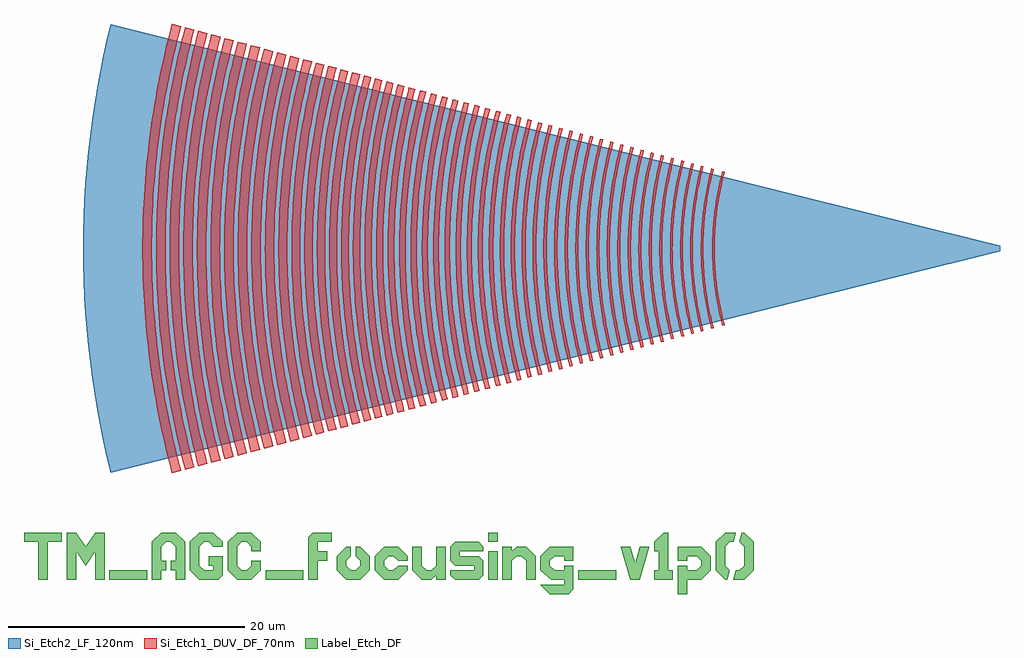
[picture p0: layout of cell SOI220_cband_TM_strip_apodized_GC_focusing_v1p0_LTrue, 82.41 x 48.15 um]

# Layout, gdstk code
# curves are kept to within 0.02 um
import gdstk
lib = gdstk.Library(unit=1e-6, precision=1e-09)
def R(c, l, rs):  # rectangles x0, y0, x1, y1
    for r in rs: c.add(gdstk.rectangle(r[:2], r[2:], *l))
def P(c, l, *ps):  # polygons
    for p in ps: c.add(gdstk.Polygon(p, *l))
Si_Etch2_LF_120nm = (3, 0)
Si_Etch1_DUV_DF_70nm = (6, 0)
Label_Etch_DF = (100, 0)

text_gdsfactorypcomponen = lib.new_cell('text_gdsfactorypcomponentsptextsptext_TTM_AGC_focusing__2e6ef2b0')
R(text_gdsfactorypcomponen, Label_Etch_DF, [(7.6,0,10.8,0.8), (20.8,0,24,0.8), (39.6,0,40.4,2.4), (47.2,0,50.4,0.8), (39.6,3.2,40.4,4)])
P(text_gdsfactorypcomponen, Label_Etch_DF, [(27.6,0),(26.8,0.8),(26.8,2),(27.6,2.8),(28,2.8),(28,2),(27.6,1.6),(27.6,1.2),(28,0.8),(28.4,0.8),(28.8,1.2),(28.8,1.6),(28.4,2),(28.4,2.8),(28.8,2.8),(29.6,2),(29.6,0.8),(28.8,0)],
  [(30.8,0),(30,0.8),(30,2),(30.8,2.8),(32,2.8),(32.8,2),(32.8,1.6),(32,1.6),(31.6,2),(31.2,2),(30.8,1.6),(30.8,1.2),(31.2,0.8),(31.6,0.8),(32,1.2),(32.8,1.2),(32.8,0.8),(32,0)],
  [(34,0),(33.2,0.8),(33.2,2.8),(34,2.8),(34,1.2),(34.4,0.8),(34.8,0.8),(35.2,1.2),(35.2,2.8),(36,2.8),(36,0),(35.2,0),(35.2,0.4),(34.8,0)],
  [(40.8,0),(40.8,2.8),(41.6,2.8),(41.6,2.4),(42,2.8),(42.8,2.8),(43.6,2),(43.6,0),(42.8,0),(42.8,1.6),(42.4,2),(42,2),(41.6,1.6),(41.6,0)],
  [(44.8,-1.2),(44,-0.4),(46,-0.4),(46,0),(44.936,0),(44,0.8),(44,2),(44.8,2.8),(46.8,2.8),(46.8,1.6),(46,1.6),(46,2),(45.2,2),(44.8,1.6),(44.8,1.2),(45.2,0.8),(46,0.8),(46,1.2),(46.8,1.2),(46.8,-0.8),(46.4,-1.2)],
  [(51.6,0),(50.8,2.8),(51.6,2.8),(52,1.4),(52.4,2.8),(53.2,2.8),(52.4,0)],
  [(55.6,-1.2),(55.6,1.2),(56.4,1.2),(56.4,0.8),(57.2,0.8),(57.6,1.2),(57.6,1.6),(57.2,2),(56.4,2),(56.4,1.6),(55.6,1.6),(55.6,2.8),(57.6,2.8),(58.4,2),(58.4,0.8),(57.6,0),(56.4,0),(56.4,-1.2)],
  [(36.8,0),(36.4,0.4),(36.4,0.8),(38.4,0.8),(38.4,1.2),(36.8,1.2),(36.4,1.6),(36.4,2.8),(36.8,3.2),(38.8,3.2),(39.2,2.8),(39.2,2.4),(37.2,2.4),(37.2,2),(38.8,2),(39.2,1.6),(39.2,0.4),(38.8,0)],
  [(1.6,0),(1.6,3.2),(0.4,3.2),(0.4,4),(3.6,4),(3.6,3.2),(2.4,3.2),(2.4,0)],
  [(4,0),(4,4),(4.8,4),(5.6,2.8),(6.4,4),(7.2,4),(7.2,0),(6.4,0),(6.4,2.4),(5.6,1.2),(4.8,2.4),(4.8,0)],
  [(11.196,0),(11.2,3.2),(12,4),(13.204,4),(14,3.2),(14,0),(13.204,0),(13.204,0.8),(12.8,0.8),(12.8,1.6),(13.204,1.6),(13.204,2.8),(12.8,3.2),(12.4,3.2),(12,2.8),(12,1.6),(12.4,1.6),(12.4,0.8),(12,0.8),(12,0)],
  [(15.2,0),(14.4,0.8),(14.4,3.2),(15.2,4),(16.4,4),(17.2,3.2),(17.2,2.8),(16.4,2.8),(16,3.2),(15.6,3.2),(15.2,2.8),(15.2,1.2),(15.6,0.8),(16.4,0.8),(16.4,1.2),(16,1.2),(16,2),(17.2,2),(17.2,0.4),(16.8,0)],
  [(18.4,0),(17.6,0.8),(17.6,3.2),(18.4,4),(19.6,4),(20.4,3.2),(20.4,2.4),(19.6,2.4),(19.6,2.8),(19.2,3.2),(18.8,3.2),(18.4,2.8),(18.4,1.2),(18.8,0.8),(19.2,0.8),(19.6,1.2),(19.6,1.6),(20.4,1.6),(20.4,0.8),(19.6,0)],
  [(24.4,0),(24.4,3.6),(24.8,4),(26.4,4),(26.4,3.2),(25.2,3.2),(25.2,2.4),(26,2.4),(26,1.6),(25.2,1.6),(25.2,0)],
  [(53.6,0),(53.6,0.8),(54,0.8),(54,2.4),(53.6,2.4),(53.6,3.2),(54.4,4),(54.8,4),(54.8,0.8),(55.2,0.8),(55.2,0)],
  [(59.6,0),(58.8,0.8),(58.8,3.2),(59.6,4),(60.52,4),(60.32,3.2),(60,3.2),(59.6,2.8),(59.6,1.2),(60,0.8),(59.8,0)],
  [(60.28,0),(60.48,0.8),(60.8,0.8),(61.2,1.2),(61.2,2.8),(60.8,3.2),(61,4),(61.2,4),(62,3.2),(62,0.8),(61.2,0)])

soi220_cband_tm_strip_ap = lib.new_cell('SOI220_cband_TM_strip_apodized_GC_focusing_v1p0_LTrue')
P(soi220_cband_tm_strip_ap, Si_Etch2_LF_120nm, [(-75.088,-18.946),(-75.703,-16.283),(-75.975,-14.943),(-76.45,-12.251),(-76.83,-9.544),(-77.116,-6.826),(-77.307,-4.099),(-77.402,-1.367),(-77.414,0),(-77.402,1.367),(-77.307,4.099),(-77.116,6.826),(-76.83,9.544),(-76.45,12.251),(-75.975,14.943),(-75.703,16.283),(-75.088,18.946),(0,0.225),(0,-0.225)])
P(soi220_cband_tm_strip_ap, Si_Etch1_DUV_DF_70nm, [(-23.439,-6.522),(-23.835,-4.808),(-24.111,-3.071),(-24.251,-1.538),(-24.298,0),(-24.251,1.538),(-24.111,3.071),(-23.835,4.808),(-23.439,6.522),(-23.246,6.47),(-23.639,4.77),(-23.884,3.263),(-24.037,1.744),(-24.098,0),(-24.037,-1.744),(-23.884,-3.263),(-23.639,-4.77),(-23.246,-6.47)],
  [(-24.365,-6.768),(-24.774,-4.991),(-25.061,-3.187),(-25.207,-1.597),(-25.255,0),(-25.207,1.597),(-25.061,3.187),(-24.774,4.991),(-24.365,6.768),(-24.171,6.718),(-24.534,5.175),(-24.833,3.388),(-25.007,1.585),(-25.055,0),(-25.007,-1.585),(-24.833,-3.388),(-24.534,-5.175),(-24.171,-6.718)],
  [(-25.23,-7.001),(-25.655,-5.162),(-25.951,-3.297),(-26.102,-1.651),(-26.152,0),(-26.102,1.651),(-25.951,3.297),(-25.655,5.162),(-25.23,7.001),(-25.037,6.95),(-25.459,5.124),(-25.722,3.505),(-25.887,1.873),(-25.952,0),(-25.887,-1.873),(-25.722,-3.505),(-25.459,-5.124),(-25.037,-6.95)],
  [(-26.042,-7.219),(-26.48,-5.322),(-26.786,-3.399),(-26.941,-1.703),(-26.993,0),(-26.941,1.703),(-26.786,3.399),(-26.48,5.322),(-26.042,7.219),(-25.849,7.168),(-26.237,5.521),(-26.556,3.615),(-26.726,1.932),(-26.793,0),(-26.726,-1.932),(-26.556,-3.615),(-26.237,-5.521),(-25.849,-7.168)],
  [(-26.875,-7.442),(-27.278,-5.733),(-27.609,-3.753),(-27.802,-1.755),(-27.855,0),(-27.802,1.755),(-27.609,3.753),(-27.278,5.733),(-26.875,7.442),(-26.682,7.391),(-27.082,5.693),(-27.411,3.727),(-27.602,1.743),(-27.655,0),(-27.602,-1.743),(-27.411,-3.727),(-27.082,-5.693),(-26.682,-7.391)],
  [(-27.748,-7.675),(-28.163,-5.913),(-28.504,-3.871),(-28.703,-1.811),(-28.758,0),(-28.703,1.811),(-28.504,3.871),(-28.163,5.913),(-27.748,7.675),(-27.529,7.618),(-27.941,5.868),(-28.28,3.842),(-28.477,1.797),(-28.532,0),(-28.477,-1.797),(-28.28,-3.842),(-27.941,-5.868),(-27.529,-7.618)],
  [(-28.606,-7.905),(-29.085,-5.829),(-29.385,-3.987),(-29.589,-1.865),(-29.646,0),(-29.589,1.865),(-29.385,3.987),(-29.085,5.829),(-28.606,7.905),(-28.387,7.848),(-28.863,5.786),(-29.161,3.958),(-29.346,2.115),(-29.42,0),(-29.346,-2.115),(-29.161,-3.958),(-28.863,-5.786),(-28.387,-7.848)],
  [(-29.457,-8.134),(-29.951,-5.997),(-30.259,-4.103),(-30.47,-1.919),(-30.528,0),(-30.47,1.919),(-30.259,4.103),(-29.951,5.997),(-29.457,8.134),(-29.223,8.072),(-29.66,6.218),(-30.019,4.071),(-30.228,1.904),(-30.286,0),(-30.228,-1.904),(-30.019,-4.071),(-29.66,-6.218),(-29.223,-8.072)],
  [(-30.325,-8.367),(-30.833,-6.169),(-31.151,-4.22),(-31.367,-1.974),(-31.427,0),(-31.367,1.974),(-31.151,4.22),(-30.833,6.169),(-30.325,8.367),(-30.073,8.3),(-30.577,6.119),(-30.892,4.186),(-31.088,2.237),(-31.166,0),(-31.088,-2.237),(-30.892,-4.186),(-30.577,-6.119),(-30.073,-8.3)],
  [(-31.178,-8.595),(-31.458,-7.471),(-31.699,-6.337),(-32.025,-4.335),(-32.248,-2.028),(-32.309,0),(-32.248,2.028),(-32.025,4.335),(-31.699,6.337),(-31.458,7.471),(-31.178,8.595),(-30.943,8.533),(-31.404,6.573),(-31.614,5.441),(-31.784,4.303),(-32.005,2.013),(-32.066,0),(-32.005,-2.013),(-31.784,-4.303),(-31.614,-5.441),(-31.404,-6.573),(-30.943,-8.533)],
  [(-32.031,-8.823),(-32.318,-7.669),(-32.565,-6.506),(-32.9,-4.45),(-33.035,-3.267),(-33.129,-2.081),(-33.192,0),(-33.129,2.081),(-33.035,3.267),(-32.9,4.45),(-32.565,6.506),(-32.318,7.669),(-32.031,8.823),(-31.793,8.761),(-32.324,6.459),(-32.656,4.418),(-32.864,2.361),(-32.925,1.181),(-32.946,0),(-32.925,-1.181),(-32.864,-2.361),(-32.656,-4.418),(-32.324,-6.459),(-31.793,-8.761)],
  [(-32.881,-9.051),(-33.176,-7.868),(-33.43,-6.673),(-33.773,-4.565),(-33.911,-3.353),(-34.007,-2.135),(-34.072,0),(-34.007,2.135),(-33.911,3.353),(-33.773,4.565),(-33.43,6.673),(-33.176,7.868),(-32.881,9.051),(-32.643,8.988),(-33.129,6.924),(-33.35,5.732),(-33.529,4.533),(-33.666,3.329),(-33.761,2.12),(-33.826,0),(-33.761,-2.12),(-33.666,-3.329),(-33.529,-4.533),(-33.35,-5.732),(-33.129,-6.924),(-32.643,-8.988)],
  [(-33.748,-9.283),(-34.25,-7.152),(-34.478,-5.92),(-34.663,-4.682),(-34.805,-3.438),(-34.904,-2.19),(-34.97,0),(-34.904,2.19),(-34.805,3.438),(-34.663,4.682),(-34.478,5.92),(-34.25,7.152),(-33.748,9.283),(-33.512,9.221),(-34.011,7.103),(-34.237,5.88),(-34.421,4.65),(-34.562,3.415),(-34.66,2.175),(-34.726,0),(-34.66,-2.175),(-34.562,-3.415),(-34.421,-4.65),(-34.237,-5.88),(-34.011,-7.103),(-33.512,-9.221)],
  [(-34.598,-9.511),(-35.112,-7.328),(-35.346,-6.067),(-35.536,-4.797),(-35.681,-3.522),(-35.782,-2.244),(-35.85,0),(-35.782,2.244),(-35.681,3.522),(-35.536,4.797),(-35.346,6.067),(-35.112,7.328),(-34.598,9.511),(-34.362,9.449),(-34.873,7.279),(-35.105,6.026),(-35.294,4.765),(-35.438,3.499),(-35.538,2.229),(-35.606,0),(-35.538,-2.229),(-35.438,-3.499),(-35.294,-4.765),(-35.105,-6.026),(-34.873,-7.279),(-34.362,-9.449)],
  [(-35.465,-9.744),(-35.992,-7.506),(-36.231,-6.214),(-36.426,-4.914),(-36.575,-3.608),(-36.678,-2.298),(-36.748,0),(-36.678,2.298),(-36.575,3.608),(-36.426,4.914),(-36.231,6.214),(-35.992,7.506),(-35.465,9.744),(-35.212,9.677),(-35.528,8.41),(-35.799,7.134),(-36.166,4.88),(-36.395,2.608),(-36.463,1.305),(-36.486,0),(-36.463,-1.305),(-36.395,-2.608),(-36.166,-4.88),(-35.799,-7.134),(-35.528,-8.41),(-35.212,-9.677)],
  [(-36.336,-9.976),(-36.661,-8.673),(-36.941,-7.356),(-37.32,-5.032),(-37.472,-3.695),(-37.577,-2.354),(-37.649,0),(-37.577,2.354),(-37.472,3.695),(-37.32,5.032),(-36.941,7.356),(-36.661,8.673),(-36.336,9.976),(-36.068,9.906),(-36.604,7.631),(-36.847,6.317),(-37.045,4.996),(-37.196,3.668),(-37.301,2.337),(-37.372,0),(-37.301,-2.337),(-37.196,-3.668),(-37.045,-4.996),(-36.847,-6.317),(-36.604,-7.631),(-36.068,-9.906)],
  [(-37.213,-10.212),(-37.766,-7.867),(-38.017,-6.512),(-38.221,-5.15),(-38.462,-2.753),(-38.534,-1.377),(-38.558,0),(-38.534,1.377),(-38.462,2.753),(-38.221,5.15),(-38.017,6.512),(-37.766,7.867),(-37.213,10.212),(-36.93,10.137),(-37.479,7.809),(-37.728,6.464),(-37.93,5.112),(-38.17,2.732),(-38.241,1.367),(-38.265,0),(-38.241,-1.367),(-38.17,-2.732),(-37.93,-5.112),(-37.728,-6.464),(-37.479,-7.809),(-36.93,-10.137)],
  [(-38.097,-10.448),(-38.662,-8.049),(-38.919,-6.664),(-39.126,-5.269),(-39.373,-2.817),(-39.448,-1.409),(-39.472,0),(-39.448,1.409),(-39.373,2.817),(-39.126,5.269),(-38.919,6.664),(-38.662,8.049),(-38.097,10.448),(-37.796,10.369),(-38.357,7.987),(-38.612,6.612),(-38.818,5.229),(-38.977,3.84),(-39.086,2.446),(-39.161,0),(-39.086,-2.446),(-38.977,-3.84),(-38.818,-5.229),(-38.612,-6.612),(-38.357,-7.987),(-37.796,-10.369)],
  [(-38.982,-10.686),(-39.561,-8.232),(-39.823,-6.815),(-40.036,-5.39),(-40.199,-3.957),(-40.312,-2.521),(-40.389,0),(-40.312,2.521),(-40.199,3.957),(-40.036,5.39),(-39.823,6.815),(-39.561,8.232),(-38.982,10.686),(-38.667,10.603),(-39.241,8.167),(-39.501,6.761),(-39.713,5.347),(-39.874,3.926),(-39.987,2.501),(-40.063,0),(-39.987,-2.501),(-39.874,-3.926),(-39.713,-5.347),(-39.501,-6.761),(-39.241,-8.167),(-38.667,-10.603)],
  [(-39.871,-10.923),(-40.227,-9.495),(-40.534,-8.055),(-40.948,-5.51),(-41.206,-2.945),(-41.283,-1.473),(-41.309,0),(-41.283,1.473),(-41.206,2.945),(-40.948,5.51),(-40.534,8.055),(-40.227,9.495),(-39.871,10.923),(-39.539,10.836),(-39.893,9.418),(-40.197,7.989),(-40.608,5.465),(-40.773,4.013),(-40.888,2.556),(-40.966,0),(-40.888,-2.556),(-40.773,-4.013),(-40.608,-5.465),(-40.197,-7.989),(-39.893,-9.418),(-39.539,-10.836)],
  [(-40.762,-11.162),(-41.126,-9.703),(-41.365,-8.6),(-41.639,-7.119),(-41.862,-5.63),(-42.126,-3.009),(-42.205,-1.506),(-42.231,0),(-42.205,1.506),(-42.126,3.009),(-41.862,5.63),(-41.639,7.119),(-41.365,8.6),(-41.126,9.703),(-40.762,11.162),(-40.414,11.07),(-40.775,9.622),(-41.085,8.161),(-41.505,5.583),(-41.767,2.984),(-41.845,1.493),(-41.871,0),(-41.845,-1.493),(-41.767,-2.984),(-41.505,-5.583),(-41.085,-8.161),(-40.775,-9.622),(-40.414,-11.07)],
  [(-41.657,-11.401),(-42.027,-9.911),(-42.347,-8.407),(-42.553,-7.271),(-42.78,-5.751),(-42.916,-4.606),(-43.05,-3.074),(-43.13,-1.537),(-43.157,0),(-43.13,1.537),(-43.05,3.074),(-42.916,4.606),(-42.78,5.751),(-42.553,7.271),(-42.347,8.407),(-42.027,9.911),(-41.657,11.401),(-41.291,11.305),(-41.902,8.709),(-42.18,7.209),(-42.405,5.702),(-42.578,4.187),(-42.698,2.667),(-42.779,0),(-42.698,-2.667),(-42.578,-4.187),(-42.405,-5.702),(-42.18,-7.209),(-41.902,-8.709),(-41.291,-11.305)],
  [(-42.556,-11.643),(-42.935,-10.12),(-43.262,-8.585),(-43.704,-5.873),(-43.881,-4.312),(-44.004,-2.746),(-44.061,-1.57),(-44.088,0),(-44.061,1.57),(-44.004,2.746),(-43.881,4.312),(-43.704,5.873),(-43.262,8.585),(-42.935,10.12),(-42.556,11.643),(-42.172,11.542),(-42.548,10.031),(-42.872,8.509),(-43.31,5.821),(-43.486,4.274),(-43.608,2.722),(-43.676,1.167),(-43.691,0),(-43.676,-1.167),(-43.608,-2.722),(-43.486,-4.274),(-43.31,-5.821),(-42.872,-8.509),(-42.548,-10.031),(-42.172,-11.542)],
  [(-43.457,-11.885),(-43.753,-10.721),(-44.1,-9.156),(-44.392,-7.579),(-44.629,-5.994),(-44.771,-4.8),(-44.91,-3.204),(-44.994,-1.602),(-45.022,0),(-44.994,1.602),(-44.91,3.204),(-44.771,4.8),(-44.629,5.994),(-44.392,7.579),(-44.1,9.156),(-43.753,10.721),(-43.457,11.885),(-43.056,11.779),(-43.441,10.237),(-43.771,8.684),(-44.047,7.119),(-44.218,5.94),(-44.397,4.362),(-44.522,2.778),(-44.579,1.588),(-44.607,0),(-44.579,-1.588),(-44.522,-2.778),(-44.397,-4.362),(-44.218,-5.94),(-44.047,-7.119),(-43.771,-8.684),(-43.441,-10.237),(-43.056,-11.779)],
  [(-44.365,-12.127),(-44.76,-10.541),(-45.1,-8.942),(-45.384,-7.331),(-45.56,-6.117),(-45.705,-4.898),(-45.847,-3.269),(-45.933,-1.635),(-45.961,0),(-45.933,1.635),(-45.847,3.269),(-45.705,4.898),(-45.56,6.117),(-45.384,7.331),(-45.1,8.942),(-44.76,10.541),(-44.365,12.127),(-43.945,12.017),(-44.337,10.444),(-44.674,8.859),(-44.89,7.663),(-45.13,6.06),(-45.273,4.853),(-45.414,3.239),(-45.499,1.62),(-45.527,0),(-45.499,-1.62),(-45.414,-3.239),(-45.273,-4.853),(-45.13,-6.06),(-44.89,-7.663),(-44.674,-8.859),(-44.337,-10.444),(-43.945,-12.017)],
  [(-45.277,-12.372),(-45.68,-10.754),(-46.028,-9.123),(-46.251,-7.891),(-46.497,-6.24),(-46.645,-4.997),(-46.79,-3.335),(-46.877,-1.669),(-46.906,0),(-46.877,1.669),(-46.79,3.335),(-46.645,4.997),(-46.497,6.24),(-46.251,7.891),(-46.028,9.123),(-45.68,10.754),(-45.277,12.372),(-44.838,12.256),(-45.238,10.652),(-45.582,9.036),(-45.803,7.816),(-46.047,6.181),(-46.234,4.539),(-46.364,2.891),(-46.436,1.24),(-46.452,0),(-46.436,-1.24),(-46.364,-2.891),(-46.234,-4.539),(-46.047,-6.181),(-45.803,-7.816),(-45.582,-9.036),(-45.238,-10.652),(-44.838,-12.256)],
  [(-46.195,-12.617),(-46.508,-11.382),(-46.877,-9.72),(-47.186,-8.048),(-47.438,-6.364),(-47.631,-4.673),(-47.764,-2.977),(-47.826,-1.701),(-47.855,0),(-47.826,1.701),(-47.764,2.977),(-47.631,4.673),(-47.438,6.364),(-47.186,8.048),(-46.877,9.72),(-46.508,11.382),(-46.195,12.617),(-45.737,12.497),(-46.048,11.272),(-46.413,9.626),(-46.72,7.969),(-46.969,6.302),(-47.16,4.628),(-47.292,2.948),(-47.353,1.685),(-47.382,0),(-47.353,-1.685),(-47.292,-2.948),(-47.16,-4.628),(-46.969,-6.302),(-46.72,-7.969),(-46.413,-9.626),(-46.048,-11.272),(-45.737,-12.497)],
  [(-47.116,-12.864),(-47.535,-11.183),(-47.896,-9.485),(-48.197,-7.776),(-48.384,-6.488),(-48.58,-4.765),(-48.688,-3.467),(-48.779,-1.735),(-48.809,0),(-48.779,1.735),(-48.688,3.467),(-48.58,4.765),(-48.384,6.488),(-48.197,7.776),(-47.896,9.485),(-47.535,11.183),(-47.116,12.864),(-46.639,12.739),(-47.055,11.072),(-47.412,9.391),(-47.641,8.123),(-47.895,6.424),(-48.046,5.145),(-48.196,3.433),(-48.286,1.718),(-48.316,0),(-48.286,-1.718),(-48.196,-3.433),(-48.046,-5.145),(-47.895,-6.424),(-47.641,-8.123),(-47.412,-9.391),(-47.055,-11.072),(-46.639,-12.739)],
  [(-48.042,-13.112),(-48.368,-11.829),(-48.751,-10.102),(-49.073,-8.362),(-49.335,-6.614),(-49.535,-4.856),(-49.645,-3.535),(-49.737,-1.768),(-49.768,0),(-49.737,1.768),(-49.645,3.535),(-49.535,4.856),(-49.335,6.614),(-49.073,8.362),(-48.751,10.102),(-48.368,11.829),(-48.042,13.112),(-47.546,12.982),(-47.869,11.709),(-48.248,10),(-48.567,8.278),(-48.826,6.547),(-49.024,4.807),(-49.133,3.499),(-49.224,1.75),(-49.255,0),(-49.224,-1.75),(-49.133,-3.499),(-49.024,-4.807),(-48.826,-6.547),(-48.567,-8.278),(-48.248,-10),(-47.869,-11.709),(-47.546,-12.982)],
  [(-48.974,-13.361),(-49.305,-12.054),(-49.695,-10.295),(-50.024,-8.522),(-50.29,-6.739),(-50.495,-4.95),(-50.607,-3.603),(-50.701,-1.802),(-50.732,0),(-50.701,1.802),(-50.607,3.603),(-50.495,4.95),(-50.29,6.739),(-50.024,8.522),(-49.695,10.295),(-49.305,12.054),(-48.974,13.361),(-48.457,13.226),(-48.786,11.929),(-49.172,10.188),(-49.497,8.434),(-49.761,6.67),(-49.963,4.898),(-50.074,3.565),(-50.167,1.783),(-50.198,0),(-50.167,-1.783),(-50.074,-3.565),(-49.963,-4.898),(-49.761,-6.67),(-49.497,-8.434),(-49.172,-10.188),(-48.786,-11.929),(-48.457,-13.226)],
  [(-49.909,-13.611),(-50.352,-11.832),(-50.734,-10.036),(-51.052,-8.229),(-51.25,-6.867),(-51.412,-5.498),(-51.572,-3.669),(-51.668,-1.836),(-51.7,0),(-51.668,1.836),(-51.572,3.669),(-51.412,5.498),(-51.25,6.867),(-51.052,8.229),(-50.734,10.036),(-50.352,11.832),(-49.909,13.611),(-49.373,13.471),(-49.812,11.708),(-50.19,9.931),(-50.505,8.142),(-50.701,6.794),(-50.906,4.989),(-51.049,3.177),(-51.128,1.362),(-51.146,0),(-51.128,-1.362),(-51.049,-3.177),(-50.906,-4.989),(-50.701,-6.794),(-50.505,-8.142),(-50.19,-9.931),(-49.812,-11.708),(-49.373,-13.471)],
  [(-50.849,-13.864),(-51.194,-12.507),(-51.598,-10.682),(-51.939,-8.843),(-52.216,-6.993),(-52.381,-5.6),(-52.544,-3.737),(-52.642,-1.87),(-52.674,0),(-52.642,1.87),(-52.544,3.737),(-52.381,5.6),(-52.216,6.993),(-51.939,8.843),(-51.598,10.682),(-51.194,12.507),(-50.849,13.864),(-50.292,13.717),(-50.634,12.373),(-51.034,10.567),(-51.371,8.748),(-51.645,6.918),(-51.808,5.54),(-51.969,3.697),(-52.066,1.85),(-52.098,0),(-52.066,-1.85),(-51.969,-3.697),(-51.808,-5.54),(-51.645,-6.918),(-51.371,-8.748),(-51.034,-10.567),(-50.634,-12.373),(-50.292,-13.717)],
  [(-51.794,-14.117),(-52.255,-12.272),(-52.651,-10.41),(-52.982,-8.534),(-53.186,-7.121),(-53.402,-5.23),(-53.521,-3.805),(-53.62,-1.904),(-53.653,0),(-53.62,1.904),(-53.521,3.805),(-53.402,5.23),(-53.186,7.121),(-52.982,8.534),(-52.651,10.41),(-52.255,12.272),(-51.794,14.117),(-51.217,13.965),(-51.673,12.138),(-52.065,10.296),(-52.392,8.441),(-52.594,7.043),(-52.808,5.172),(-52.925,3.764),(-53.023,1.883),(-53.056,0),(-53.023,-1.883),(-52.925,-3.764),(-52.808,-5.172),(-52.594,-7.043),(-52.392,-8.441),(-52.065,-10.296),(-51.673,-12.138),(-51.217,-13.965)],
  [(-52.747,-14.372),(-53.214,-12.494),(-53.618,-10.597),(-53.877,-9.167),(-54.163,-7.25),(-54.382,-5.323),(-54.535,-3.391),(-54.605,-1.938),(-54.638,0),(-54.605,1.938),(-54.535,3.391),(-54.382,5.323),(-54.163,7.25),(-53.877,9.167),(-53.618,10.597),(-53.214,12.494),(-52.747,14.372),(-52.148,14.215),(-52.611,12.355),(-53.01,10.479),(-53.266,9.065),(-53.549,7.169),(-53.766,5.264),(-53.917,3.353),(-53.986,1.917),(-54.019,0),(-53.986,-1.917),(-53.917,-3.353),(-53.766,-5.264),(-53.549,-7.169),(-53.266,-9.065),(-53.01,-10.479),(-52.611,-12.355),(-52.148,-14.215)],
  [(-53.704,-14.628),(-54.181,-12.717),(-54.494,-11.27),(-54.854,-9.331),(-55.146,-7.378),(-55.369,-5.418),(-55.524,-3.451),(-55.595,-1.973),(-55.629,0),(-55.595,1.973),(-55.524,3.451),(-55.369,5.418),(-55.146,7.378),(-54.854,9.331),(-54.494,11.27),(-54.181,12.717),(-53.704,14.628),(-53.084,14.465),(-53.556,12.573),(-53.866,11.143),(-54.222,9.225),(-54.51,7.295),(-54.731,5.357),(-54.884,3.412),(-54.969,1.463),(-54.988,0),(-54.969,-1.463),(-54.884,-3.412),(-54.731,-5.357),(-54.51,-7.295),(-54.222,-9.225),(-53.866,-11.143),(-53.556,-12.573),(-53.084,-14.465)],
  [(-54.683,-14.891),(-55.168,-12.945),(-55.586,-10.98),(-55.935,-9.002),(-56.15,-7.511),(-56.378,-5.516),(-56.536,-3.514),(-56.624,-1.506),(-56.643,0),(-56.624,1.506),(-56.536,3.514),(-56.378,5.516),(-56.15,7.511),(-55.935,9.002),(-55.586,10.98),(-55.168,12.945),(-54.683,14.891),(-54.041,14.722),(-54.521,12.795),(-54.934,10.853),(-55.279,8.898),(-55.492,7.424),(-55.717,5.452),(-55.873,3.473),(-55.96,1.489),(-55.979,0),(-55.96,-1.489),(-55.873,-3.473),(-55.717,-5.452),(-55.492,-7.424),(-55.279,-8.898),(-54.934,-10.853),(-54.521,-12.795),(-54.041,-14.722)],
  [(-55.684,-15.16),(-56.061,-13.676),(-56.504,-11.679),(-56.877,-9.669),(-57.179,-7.646),(-57.41,-5.615),(-57.571,-3.576),(-57.645,-2.045),(-57.68,0),(-57.645,2.045),(-57.571,3.576),(-57.41,5.615),(-57.179,7.646),(-56.877,9.669),(-56.504,11.679),(-56.061,13.676),(-55.684,15.16),(-55.02,14.984),(-55.509,13.024),(-55.831,11.542),(-56.199,9.555),(-56.498,7.557),(-56.676,6.052),(-56.852,4.039),(-56.958,2.021),(-56.993,0),(-56.958,-2.021),(-56.852,-4.039),(-56.676,-6.052),(-56.498,-7.557),(-56.199,-9.555),(-55.831,-11.542),(-55.509,-13.024),(-55.02,-14.984)],
  [(-56.709,-15.434),(-57.212,-13.417),(-57.543,-11.89),(-57.922,-9.844),(-58.23,-7.785),(-58.466,-5.716),(-58.629,-3.641),(-58.72,-1.562),(-58.74,0),(-58.72,1.562),(-58.629,3.641),(-58.466,5.716),(-58.23,7.785),(-57.922,9.844),(-57.543,11.89),(-57.212,13.417),(-56.709,15.434),(-56.022,15.253),(-56.52,13.257),(-56.847,11.749),(-57.222,9.727),(-57.526,7.692),(-57.759,5.648),(-57.92,3.598),(-58.01,1.543),(-58.03,0),(-58.01,-1.543),(-57.92,-3.598),(-57.759,-5.648),(-57.526,-7.692),(-57.222,-9.727),(-56.847,-11.749),(-56.52,-13.257),(-56.022,-15.253)],
  [(-57.756,-15.714),(-58.267,-13.66),(-58.709,-11.587),(-58.991,-10.023),(-59.305,-7.927),(-59.545,-5.821),(-59.711,-3.707),(-59.787,-2.119),(-59.824,0),(-59.787,2.119),(-59.711,3.707),(-59.545,5.821),(-59.305,7.927),(-58.991,10.023),(-58.709,11.587),(-58.267,13.66),(-57.756,15.714),(-57.046,15.527),(-57.432,14.005),(-57.886,11.96),(-58.267,9.902),(-58.577,7.831),(-58.814,5.75),(-58.944,4.185),(-59.053,2.094),(-59.09,0),(-59.053,-2.094),(-58.944,-4.185),(-58.814,-5.75),(-58.577,-7.831),(-58.267,-9.902),(-57.886,-11.96),(-57.432,-14.005),(-57.046,-15.527)],
  [(-58.826,-16.001),(-59.348,-13.91),(-59.691,-12.329),(-60.084,-10.205),(-60.403,-8.071),(-60.647,-5.927),(-60.817,-3.775),(-60.895,-2.158),(-60.932,0),(-60.895,2.158),(-60.817,3.775),(-60.647,5.927),(-60.403,8.071),(-60.084,10.205),(-59.691,12.329),(-59.348,13.91),(-58.826,16.001),(-58.093,15.808),(-58.609,13.739),(-59.052,11.654),(-59.422,9.554),(-59.651,7.972),(-59.893,5.854),(-60.06,3.729),(-60.137,2.132),(-60.174,0),(-60.137,-2.132),(-60.06,-3.729),(-59.893,-5.854),(-59.651,-7.972),(-59.422,-9.554),(-59.052,-11.654),(-58.609,-13.739),(-58.093,-15.808)],
  [(-59.919,-16.293),(-60.45,-14.164),(-60.908,-12.014),(-61.2,-10.392),(-61.525,-8.219),(-61.719,-6.582),(-61.911,-4.393),(-62.026,-2.197),(-62.064,0),(-62.026,2.197),(-61.911,4.393),(-61.719,6.582),(-61.525,8.219),(-61.2,10.392),(-60.908,12.014),(-60.45,14.164),(-59.919,16.293),(-59.163,16.094),(-59.688,13.988),(-60.14,11.865),(-60.429,10.263),(-60.75,8.117),(-60.996,5.96),(-61.131,4.338),(-61.244,2.17),(-61.282,0),(-61.244,-2.17),(-61.131,-4.338),(-60.996,-5.96),(-60.75,-8.117),(-60.429,-10.263),(-60.14,-11.865),(-59.688,-13.988),(-59.163,-16.094)],
  [(-61.031,-16.59),(-61.443,-14.968),(-61.927,-12.783),(-62.335,-10.582),(-62.665,-8.368),(-62.919,-6.146),(-63.095,-3.914),(-63.192,-1.678),(-63.214,0),(-63.192,1.678),(-63.095,3.914),(-62.919,6.146),(-62.665,8.368),(-62.335,10.582),(-61.927,12.783),(-61.443,14.968),(-61.031,16.59),(-60.257,16.387),(-60.791,14.243),(-61.251,12.081),(-61.546,10.45),(-61.872,8.264),(-62.123,6.069),(-62.26,4.417),(-62.375,2.21),(-62.414,0),(-62.375,-2.21),(-62.26,-4.417),(-62.123,-6.069),(-61.872,-8.264),(-61.546,-10.45),(-61.251,-12.081),(-60.791,-14.243),(-60.257,-16.387)],
  [(-62.14,-16.89),(-62.692,-14.682),(-63.165,-12.454),(-63.469,-10.772),(-63.805,-8.519),(-64.063,-6.256),(-64.243,-3.985),(-64.325,-2.278),(-64.364,0),(-64.325,2.278),(-64.243,3.985),(-64.063,6.256),(-63.805,8.519),(-63.469,10.772),(-63.165,12.454),(-62.692,14.682),(-62.14,16.89),(-61.367,16.685),(-61.912,14.502),(-62.38,12.301),(-62.68,10.64),(-63.012,8.415),(-63.267,6.179),(-63.444,3.936),(-63.525,2.25),(-63.564,0),(-63.525,-2.25),(-63.444,-3.936),(-63.267,-6.179),(-63.012,-8.415),(-62.68,-10.64),(-62.38,-12.301),(-61.912,-14.502),(-61.367,-16.685)],
  [(-63.252,-17.187),(-63.679,-15.504),(-64.181,-13.241),(-64.603,-10.962),(-64.946,-8.67),(-65.208,-6.365),(-65.391,-4.055),(-65.492,-1.739),(-65.514,0),(-65.492,1.739),(-65.391,4.055),(-65.208,6.365),(-64.946,8.67),(-64.603,10.962),(-64.181,13.241),(-63.679,15.504),(-63.252,17.187),(-62.478,16.983),(-62.901,15.318),(-63.397,13.082),(-63.814,10.83),(-64.153,8.565),(-64.412,6.289),(-64.592,4.006),(-64.692,1.718),(-64.714,0),(-64.692,-1.718),(-64.592,-4.006),(-64.412,-6.289),(-64.153,-8.565),(-63.814,-10.83),(-63.397,-13.082),(-62.901,-15.318),(-62.478,-16.983)],
  [(-64.363,-17.483),(-64.933,-15.199),(-65.308,-13.47),(-65.737,-11.152),(-66.086,-8.819),(-66.353,-6.476),(-66.538,-4.125),(-66.641,-1.769),(-66.664,0),(-66.641,1.769),(-66.538,4.125),(-66.353,6.476),(-66.086,8.819),(-65.737,11.152),(-65.308,13.47),(-64.933,15.199),(-64.363,17.483),(-63.589,17.28),(-64.153,15.019),(-64.524,13.311),(-64.948,11.02),(-65.293,8.715),(-65.557,6.399),(-65.701,4.657),(-65.823,2.33),(-65.864,0),(-65.823,-2.33),(-65.701,-4.657),(-65.557,-6.399),(-65.293,-8.715),(-64.948,-11.02),(-64.524,-13.311),(-64.153,-15.019),(-63.589,-17.28)],
  [(-65.474,-17.782),(-65.915,-16.041),(-66.435,-13.699),(-66.872,-11.341),(-67.226,-8.97),(-67.438,-7.183),(-67.647,-4.793),(-67.773,-2.398),(-67.814,0),(-67.773,2.398),(-67.647,4.793),(-67.438,7.183),(-67.226,8.97),(-66.872,11.341),(-66.435,13.699),(-65.915,16.041),(-65.474,17.782),(-64.7,17.578),(-65.273,15.278),(-65.651,13.54),(-66.083,11.209),(-66.433,8.865),(-66.642,7.099),(-66.849,4.738),(-66.973,2.37),(-67.014,0),(-66.973,-2.37),(-66.849,-4.738),(-66.642,-7.099),(-66.433,-8.865),(-66.083,-11.209),(-65.651,-13.54),(-65.273,-15.278),(-64.7,-17.578)],
  [(-66.585,-18.079),(-67.174,-15.716),(-67.68,-13.331),(-68.006,-11.531),(-68.366,-9.119),(-68.582,-7.303),(-68.794,-4.874),(-68.922,-2.438),(-68.964,0),(-68.922,2.438),(-68.794,4.874),(-68.582,7.303),(-68.366,9.119),(-68.006,11.531),(-67.68,13.331),(-67.174,15.716),(-66.585,18.079),(-65.811,17.876),(-66.394,15.536),(-66.895,13.178),(-67.314,10.804),(-67.573,9.015),(-67.786,7.219),(-67.996,4.818),(-68.122,2.41),(-68.164,0),(-68.122,-2.41),(-67.996,-4.818),(-67.786,-7.219),(-67.573,-9.015),(-67.314,-10.804),(-66.895,-13.178),(-66.394,-15.536),(-65.811,-17.876)],
  [(-67.695,-18.377),(-68.293,-15.975),(-68.809,-13.551),(-69.24,-11.109),(-69.506,-9.269),(-69.787,-6.807),(-69.982,-4.336),(-70.09,-1.859),(-70.114,0),(-70.09,1.859),(-69.982,4.336),(-69.787,6.807),(-69.506,9.269),(-69.24,11.109),(-68.809,13.551),(-68.293,15.975),(-67.695,18.377),(-66.921,18.173),(-67.514,15.795),(-68.024,13.398),(-68.45,10.984),(-68.713,9.165),(-68.991,6.73),(-69.143,4.898),(-69.271,2.451),(-69.314,0),(-69.271,-2.451),(-69.143,-4.898),(-68.991,-6.73),(-68.713,-9.165),(-68.45,-10.984),(-68.024,-13.398),(-67.514,-15.795),(-66.921,-18.173)],
  [(-68.805,-18.675),(-69.415,-16.234),(-69.938,-13.77),(-70.274,-11.911),(-70.646,-9.42),(-70.931,-6.916),(-71.13,-4.406),(-71.221,-2.519),(-71.264,0),(-71.221,2.519),(-71.13,4.406),(-70.931,6.916),(-70.646,9.42),(-70.274,11.911),(-69.938,13.77),(-69.415,16.234),(-68.805,18.675),(-68.032,18.471),(-68.635,16.054),(-69.153,13.617),(-69.485,11.779),(-69.853,9.315),(-70.135,6.84),(-70.331,4.357),(-70.421,2.491),(-70.464,0),(-70.421,-2.491),(-70.331,-4.357),(-70.135,-6.84),(-69.853,-9.315),(-69.485,-11.779),(-69.153,-13.617),(-68.635,-16.054),(-68.032,-18.471)],
  [(-69.917,-18.973),(-70.534,-16.493),(-71.067,-13.99),(-71.511,-11.469),(-71.787,-9.569),(-72.076,-7.026),(-72.277,-4.476),(-72.37,-2.559),(-72.414,0),(-72.37,2.559),(-72.277,4.476),(-72.076,7.026),(-71.787,9.569),(-71.511,11.469),(-71.067,13.99),(-70.534,16.493),(-69.917,18.973),(-69.143,18.769),(-69.755,16.313),(-70.282,13.837),(-70.721,11.344),(-70.994,9.465),(-71.28,6.95),(-71.479,4.427),(-71.57,2.531),(-71.614,0),(-71.57,-2.531),(-71.479,-4.427),(-71.28,-6.95),(-70.994,-9.465),(-70.721,-11.344),(-70.282,-13.837),(-69.755,-16.313),(-69.143,-18.769)])
soi220_cband_tm_strip_ap.add(gdstk.Reference(text_gdsfactorypcomponen, (-82.814,-27.973)))

lib.write_gds('SOI220_cband_TM_strip_apodized_GC_focusing_v1p0_LTrue.gds')
